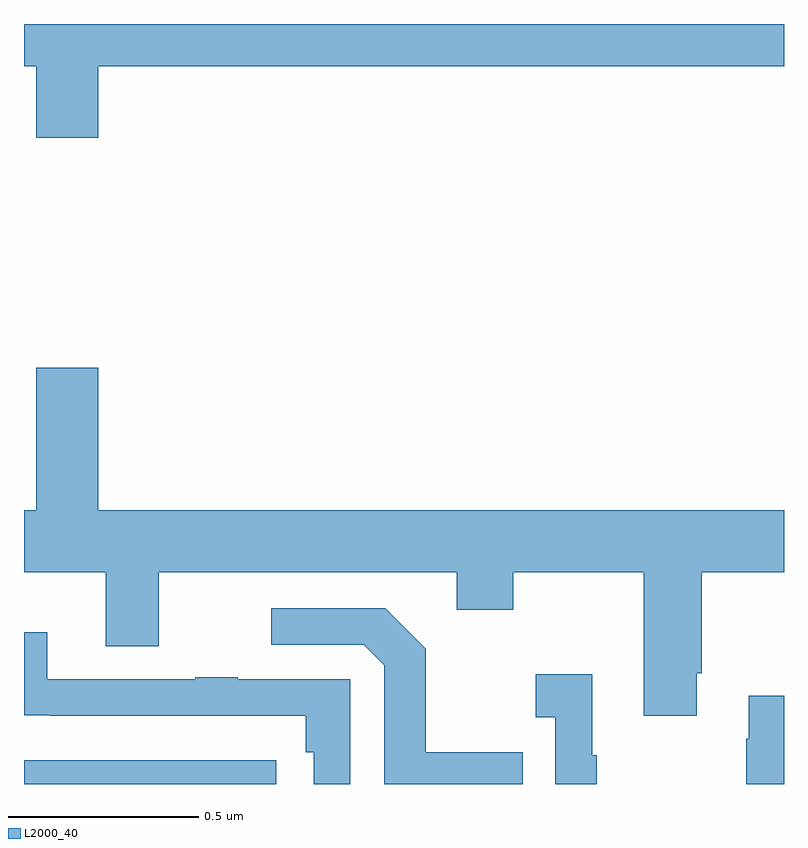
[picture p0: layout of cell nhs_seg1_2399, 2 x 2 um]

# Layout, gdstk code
import gdstk
lib = gdstk.Library(unit=1e-6, precision=1e-09)
def R(c, l, rs):  # rectangles x0, y0, x1, y1
    for r in rs: c.add(gdstk.rectangle(r[:2], r[2:], *l))
def P(c, l, *ps):  # polygons
    for p in ps: c.add(gdstk.Polygon(p, *l))
L2000_40 = (2000, 40)

nhs_seg1_2399 = lib.new_cell('nhs_seg1_2399')
R(nhs_seg1_2399, L2000_40, [(141,527.199,141.664,527.262)])
P(nhs_seg1_2399, L2000_40, [(141.196,529.088),(143,529.088),(143,529.199),(141,529.199),(141,529.088),(141.032,529.088),(141.032,528.9),(141.196,528.9)],
  [(142.771,527.491),(142.784,527.491),(142.784,527.756),(143,527.756),(143,527.92),(141.196,527.92),(141.196,528.295),(141.032,528.295),(141.032,527.92),(141,527.92),(141,527.756),(141.215,527.756),(141.215,527.562),(141.355,527.562),(141.355,527.756),(142.139,527.756),(142.139,527.657),(142.287,527.657),(142.287,527.756),(142.631,527.756),(142.631,527.379),(142.771,527.379)],
  [(142.313,527.283),(142.057,527.283),(142.057,527.555),(141.951,527.661),(141.651,527.661),(141.651,527.565),(141.894,527.565),(141.948,527.511),(141.948,527.199),(142.313,527.199)],
  [(141.858,527.475),(141.563,527.475),(141.563,527.48),(141.451,527.48),(141.451,527.475),(141.061,527.475),(141.061,527.599),(141,527.599),(141,527.38),(141.067,527.38),(141.067,527.379),(141.742,527.379),(141.742,527.282),(141.762,527.282),(141.762,527.199),(141.858,527.199)],
  [(142.507,527.275),(142.495,527.275),(142.495,527.488),(142.347,527.488),(142.347,527.375),(142.398,527.375),(142.398,527.199),(142.507,527.199)],
  [(143,527.431),(142.907,527.431),(142.907,527.318),(142.9,527.318),(142.9,527.199),(143,527.199)])

lib.write_gds('nhs_seg1_2399.gds')
